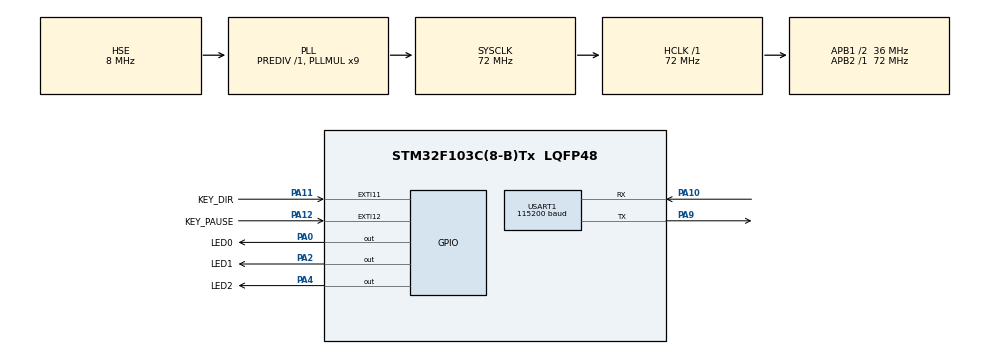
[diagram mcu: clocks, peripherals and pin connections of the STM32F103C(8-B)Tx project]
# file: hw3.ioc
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Mcu.Family=STM32F1
Mcu.Name=STM32F103C(8-B)Tx
Mcu.Package=LQFP48
NVIC.EXTI15_10_IRQn=true\:0\:0\:false\:false\:true\:true\:true\:true
NVIC.PriorityGroup=NVIC_PRIORITYGROUP_4
NVIC.USART1_IRQn=true\:0\:0\:false\:false\:true\:true\:true\:true
PA0-WKUP.GPIO_Label=LED0
PA0-WKUP.Signal=GPIO_Output
PA10.Mode=Asynchronous
PA10.Signal=USART1_RX
PA11.GPIO_Label=KEY_DIR
PA11.GPIO_ModeDefaultEXTI=GPIO_MODE_IT_FALLING
PA11.GPIO_PuPd=GPIO_PULLUP
PA11.Signal=GPXTI11
PA12.GPIO_Label=KEY_PAUSE
PA12.GPIO_ModeDefaultEXTI=GPIO_MODE_IT_FALLING
PA12.GPIO_PuPd=GPIO_PULLUP
PA12.Signal=GPXTI12
PA13.Mode=Serial_Wire
PA13.Signal=SYS_JTMS-SWDIO
PA14.Mode=Serial_Wire
PA14.Signal=SYS_JTCK-SWCLK
PA2.GPIO_Label=LED1
PA2.Signal=GPIO_Output
PA4.GPIO_Label=LED2
PA4.Signal=GPIO_Output
PA9.Mode=Asynchronous
PA9.Signal=USART1_TX
PD0-OSC_IN.Mode=HSE-External-Oscillator
PD0-OSC_IN.Signal=RCC_OSC_IN
PD1-OSC_OUT.Mode=HSE-External-Oscillator
PD1-OSC_OUT.Signal=RCC_OSC_OUT
ProjectManager.HeapSize=0x200
ProjectManager.StackSize=0x400
ProjectManager.TargetToolchain=STM32CubeIDE
RCC.AHBFreq_Value=72000000
RCC.APB1CLKDivider=RCC_HCLK_DIV2
RCC.APB1Freq_Value=36000000
RCC.APB1TimFreq_Value=72000000
RCC.APB2Freq_Value=72000000
RCC.APB2TimFreq_Value=72000000
RCC.HCLKFreq_Value=72000000
RCC.PLLMUL=RCC_PLL_MUL9
RCC.PLLSourceVirtual=RCC_PLLSOURCE_HSE
RCC.SYSCLKFreq_VALUE=72000000
RCC.SYSCLKSource=RCC_SYSCLKSOURCE_PLLCLK
RCC.USBFreq_Value=72000000
USART1.BaudRate=115200
USART1.VirtualMode=VM_ASYNC
board=custom

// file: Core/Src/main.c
/* USER CODE BEGIN Header */
/**
  ******************************************************************************
  * @file           : main.c
  * @brief          : Main program body
  ******************************************************************************
  * @attention
  *
  * Copyright (c) 2026 STMicroelectronics.
  * All rights reserved.
  *
  * This software is licensed under terms that can be found in the LICENSE file
  * in the root directory of this software component.
  * If no LICENSE file comes with this software, it is provided AS-IS.
  *
  ******************************************************************************
  */
/* USER CODE END Header */
#include "main.h"
#include "usart.h"
#include "gpio.h"

/* USER CODE BEGIN Includes */
#include <stdio.h>
#include <string.h>
#include "OLED.h"
/* USER CODE END Includes */

/* USER CODE BEGIN PTD */
/* 灯表：把“第几盏灯”和“哪个端口、哪个引脚”解耦，增删灯只改这张表 */
typedef struct
{
  GPIO_TypeDef *port;
  uint16_t      pin;
} LedDef_t;

/* 串口数据包：AA RUN DIR STEP_L STEP_H CHECK，共 6 字节
   packed 让结构体没有对齐填充，sizeof 恰好等于 6，可以直接拿来接收 */
typedef struct __attribute__((packed))
{
  uint8_t  header;      /* 固定 0xAA */
  uint8_t  run;         /* 00 暂停 / 01 运行 */
  uint8_t  dir;         /* 00 正向 / 01 反向 */
  uint16_t step_ms;     /* 低字节在前，范围 100~2000 */
  uint8_t  checksum;    /* 前 5 字节之和取低 8 位 */
} CtrlPacket_t;
/* USER CODE END PTD */

/* USER CODE BEGIN PD */
#define LED_NUM                 3U
#define LED_LEVEL_ON            GPIO_PIN_SET       /* 板子为高电平点亮 */
#define LED_LEVEL_OFF           GPIO_PIN_RESET

#define STEP_MIN_MS             100U
#define STEP_MAX_MS             2000U
#define STEP_DEFAULT_MS         300U

#define KEY_LOCKOUT_MS          200U               /* 按键消抖锁定窗口 */

#define PKT_HEADER              0xAAU

#define OLED_LINE_NUM           4U
#define OLED_COL_MAX            16U

/* 屏自检：0 正常运行；1 只清屏后停住（看噪点还在不在）；2 四行写满 16 列测试图。
   用来区分“屏幕本身有问题”和“程序没写满”。平时保持 0。 */
#define OLED_SELFTEST           0
/* USER CODE END PD */

/* USER CODE BEGIN PV */
static const LedDef_t s_ledTable[LED_NUM] =
{
  { LED0_GPIO_Port, LED0_Pin },
  { LED1_GPIO_Port, LED1_Pin },
  { LED2_GPIO_Port, LED2_Pin },
};

/* 唯一的一份运行状态：按键、串口、流水灯、OLED、串口反馈都读写这几个变量 */
static uint8_t  s_run      = 1U;                    /* 1 运行 / 0 暂停 */
static uint8_t  s_dir      = 0U;                    /* 0 正向 / 1 反向 */
static uint16_t s_stepMs   = STEP_DEFAULT_MS;       /* 相邻 LED 切换间隔 */
static uint8_t  s_ledIndex = 0U;                    /* 0~2，对应 LED1~LED3 */

static uint32_t s_lastStepTick = 0U;
static uint32_t s_dirKeyTick   = 0U;
static uint32_t s_pauseKeyTick = 0U;

/* 串口接收：s_rxPacket 由中断写入，s_readyPacket 交给主循环处理 */
static CtrlPacket_t      s_rxPacket;
static CtrlPacket_t      s_readyPacket;
static volatile uint8_t  s_packetReady = 0U;

/* 中断只置标志，具体处理都在主循环 */
static volatile uint8_t  s_keyDirFlag   = 0U;
static volatile uint8_t  s_keyPauseFlag = 0U;

/* 串口中断发送的缓冲区必须一直有效，所以不能是局部变量 */
static char             s_txBuf[48];
static volatile uint8_t s_txBusy    = 0U;
static volatile uint8_t s_txPending = 0U;

/* 显示：dirty 表示状态变过，只有变过才重画一次整屏 */
static volatile uint8_t s_displayDirty = 1U;
/* USER CODE END PV */

void SystemClock_Config(void);
/* USER CODE BEGIN PFP */
static void Led_Write(uint8_t idx, uint8_t on);
static void Led_ShowIndex(uint8_t idx);
static void LedFlow_Init(void);
static void LedFlow_Task(void);
static void Key_Task(void);
static void Packet_Task(void);
static void Display_Line(uint8_t line, const char *text);
static void Display_Refresh(void);
static void Display_Task(void);
static void Status_Send(void);
static void Uart_Task(void);
/* USER CODE END PFP */

/* USER CODE BEGIN 0 */
/* 写第 idx 盏灯，on 为 1 点亮、0 熄灭 */
static void Led_Write(uint8_t idx, uint8_t on)
{
  GPIO_PinState level = (on != 0U) ? LED_LEVEL_ON : LED_LEVEL_OFF;
  HAL_GPIO_WritePin(s_ledTable[idx].port, s_ledTable[idx].pin, level);
}

/* 同一时刻只点亮一盏：目标灯点亮，其余全灭 */
static void Led_ShowIndex(uint8_t idx)
{
  uint8_t i;

  for (i = 0U; i < LED_NUM; i++)
  {
    Led_Write(i, (i == idx) ? 1U : 0U);
  }
}

static void LedFlow_Init(void)
{
  s_run      = 1U;
  s_dir      = 0U;
  s_stepMs   = STEP_DEFAULT_MS;
  s_ledIndex = 0U;

  Led_ShowIndex(s_ledIndex);
  s_lastStepTick = HAL_GetTick();
}

/* 非阻塞流水灯：每次路过只问一句“距离上次换灯够一个间隔了吗” */
static void LedFlow_Task(void)
{
  uint32_t now = HAL_GetTick();

  if (s_run == 0U)
  {
    return;                                   /* 暂停：保留当前灯，计时也不推进 */
  }

  if ((uint32_t)(now - s_lastStepTick) < (uint32_t)s_stepMs)
  {
    return;
  }

  s_lastStepTick = now;                       /* 以实际换灯时刻为基准，误差不累积 */

  if (s_dir == 0U)
  {
    s_ledIndex = (uint8_t)((s_ledIndex + 1U) % LED_NUM);
  }
  else
  {
    s_ledIndex = (uint8_t)((s_ledIndex + LED_NUM - 1U) % LED_NUM);
  }

  Led_ShowIndex(s_ledIndex);
  s_displayDirty = 1U;                        /* 点亮的灯换了，OLED 的 LED 编号要跟着改 */
}

/* 按键处理：标志在中断里置位，消抖和状态更新都在这里做 */
static void Key_Task(void)
{
  uint32_t now = HAL_GetTick();

  if (s_keyDirFlag != 0U)
  {
    s_keyDirFlag = 0U;

    /* 锁定窗口 + 回读电平：抖动期间产生的多次下降沿只认第一次 */
    if (((uint32_t)(now - s_dirKeyTick) >= KEY_LOCKOUT_MS) &&
        (HAL_GPIO_ReadPin(KEY_DIR_GPIO_Port, KEY_DIR_Pin) == GPIO_PIN_RESET))
    {
      s_dirKeyTick   = now;
      s_dir         ^= 1U;
      s_displayDirty = 1U;
      Status_Send();
    }
  }

  if (s_keyPauseFlag != 0U)
  {
    s_keyPauseFlag = 0U;

    if (((uint32_t)(now - s_pauseKeyTick) >= KEY_LOCKOUT_MS) &&
        (HAL_GPIO_ReadPin(KEY_PAUSE_GPIO_Port, KEY_PAUSE_Pin) == GPIO_PIN_RESET))
    {
      s_pauseKeyTick = now;
      s_run         ^= 1U;

      if (s_run != 0U)
      {
        s_lastStepTick = now;                 /* 恢复运行：从现在起重新计时 */
      }

      s_displayDirty = 1U;
      Status_Send();
    }
  }
}

/* 数据包校验与应用：帧头、校验和、取值范围全部通过才生效 */
static void Packet_Task(void)
{
  CtrlPacket_t    pkt;
  const uint8_t  *bytes;
  uint8_t         expected;

  if (s_packetReady == 0U)
  {
    return;
  }

  s_packetReady = 0U;
  pkt   = s_readyPacket;                      /* 先拷出来，处理期间不影响接收下一包 */
  bytes = (const uint8_t *)&pkt;

  expected = (uint8_t)(bytes[0] + bytes[1] + bytes[2] + bytes[3] + bytes[4]);

  if (pkt.header != PKT_HEADER)               /* 帧头不对 */
  {
    return;
  }
  if (pkt.checksum != expected)               /* 校验和不对 */
  {
    return;
  }
  if ((pkt.run > 1U) || (pkt.dir > 1U))       /* 标志位只允许 0/1 */
  {
    return;
  }
  if ((pkt.step_ms < STEP_MIN_MS) || (pkt.step_ms > STEP_MAX_MS))
  {
    return;                                   /* 间隔越界 */
  }

  s_run    = pkt.run;
  s_dir    = pkt.dir;
  s_stepMs = pkt.step_ms;

  s_lastStepTick = HAL_GetTick();             /* 按新的间隔重新计时 */

  s_displayDirty = 1U;
  Status_Send();
}

/* 画一行：不足 16 字符用空格补齐，把整行 128 像素全部覆盖一遍。
   这里不做“内容没变就跳过”的优化——一旦某次写入失败导致屏幕与缓存不一致，
   跳过逻辑会让残字永远留在屏上；四行整屏重画约 4 ms，代价可以忽略。 */
static void Display_Line(uint8_t line, const char *text)
{
  char    buf[OLED_COL_MAX + 1U];
  uint8_t i;

  if ((line == 0U) || (line > OLED_LINE_NUM))
  {
    return;
  }

  for (i = 0U; i < OLED_COL_MAX; i++)
  {
    buf[i] = (text[i] != '\0') ? text[i] : ' ';
  }
  buf[OLED_COL_MAX] = '\0';

  OLED_ShowString(line, 1U, buf);
}

static void Display_Refresh(void)
{
  char buf[OLED_COL_MAX + 1U];

  (void)snprintf(buf, sizeof(buf), "STATE: %s", (s_run != 0U) ? "RUN" : "PAUSE");
  Display_Line(1U, buf);

  (void)snprintf(buf, sizeof(buf), "DIR: %s", (s_dir != 0U) ? "REV" : "FWD");
  Display_Line(2U, buf);

  (void)snprintf(buf, sizeof(buf), "STEP: %ums", (unsigned int)s_stepMs);
  Display_Line(3U, buf);

  (void)snprintf(buf, sizeof(buf), "LED: %u", (unsigned int)(s_ledIndex + 1U));
  Display_Line(4U, buf);
}

static void Display_Task(void)
{
  if (s_displayDirty == 0U)
  {
    return;
  }
  s_displayDirty = 0U;
  Display_Refresh();
}

/* 串口中断发送状态反馈；发送忙时只记一个“待发”，由主循环补发 */
static void Status_Send(void)
{
  int len;

  if (s_txBusy != 0U)
  {
    s_txPending = 1U;
    return;
  }

  len = snprintf(s_txBuf, sizeof(s_txBuf),
                 "STATE=%s,DIR=%s,STEP=%u,LED=%u\r\n",
                 (s_run != 0U) ? "RUN" : "PAUSE",
                 (s_dir != 0U) ? "REV" : "FWD",
                 (unsigned int)s_stepMs,
                 (unsigned int)(s_ledIndex + 1U));

  if (len <= 0)
  {
    return;
  }

  if (HAL_UART_Transmit_IT(&huart1, (uint8_t *)s_txBuf, (uint16_t)len) == HAL_OK)
  {
    s_txBusy = 1U;
  }
}

static void Uart_Task(void)
{
  if ((s_txBusy == 0U) && (s_txPending != 0U))
  {
    s_txPending = 0U;
    Status_Send();
  }
}
/* USER CODE END 0 */

int main(void)
{

  /* MCU Configuration--------------------------------------------------------*/

  /* Reset of all peripherals, Initializes the Flash interface and the Systick. */
  HAL_Init();

  /* Configure the system clock */
  SystemClock_Config();

  /* Initialize all configured peripherals */
  MX_GPIO_Init();
  MX_USART1_UART_Init();
  /* USER CODE BEGIN 2 */
  OLED_Init();
  LedFlow_Init();

#if (OLED_SELFTEST == 1)
  /* 只清屏：如果这时右边缘的竖条噪点还在，说明那几列根本没被清到，
     与主程序无关，问题在驱动的列寻址或屏幕本身。 */
  for (;;)
  {
  }
#elif (OLED_SELFTEST == 2)
  /* 四行写满 16 列：正常应该看到连续的 0123456789ABCDEF。
     末尾缺字符 = 那些列写不进去；出现错位 = 列寻址整体偏移。 */
  {
    char    test_line[OLED_COL_MAX + 1U];
    uint8_t i;

    for (i = 0U; i < OLED_COL_MAX; i++)
    {
      test_line[i] = "0123456789ABCDEF"[i];
    }
    test_line[OLED_COL_MAX] = '\0';

    for (;;)
    {
      for (i = 0U; i < OLED_LINE_NUM; i++)
      {
        OLED_ShowString((uint8_t)(i + 1U), 1U, test_line);
      }
      HAL_Delay(500U);
    }
  }
#endif

  s_displayDirty = 1U;                        /* 让主循环第一轮画出完整状态 */

  /* 先启动一次接收，之后每次收满都在回调里重新启动 */
  (void)HAL_UART_Receive_IT(&huart1, (uint8_t *)&s_rxPacket, sizeof(s_rxPacket));

  Status_Send();                              /* 上电先回一行状态，方便确认串口通了 */
  /* USER CODE END 2 */

  /* Infinite loop */
  while (1)
  {

    /* USER CODE BEGIN 3 */
    Key_Task();                               /* 按键消抖 + 状态切换 */
    Packet_Task();                            /* 数据包校验 + 应用设置 */
    LedFlow_Task();                           /* 非阻塞流水灯推进 */
    Display_Task();                           /* 状态变了才刷新 OLED */
    Uart_Task();                              /* 补发被忙时挤掉的反馈 */
  }
  /* USER CODE END 3 */
}

void SystemClock_Config(void)
{
  RCC_OscInitTypeDef RCC_OscInitStruct = {0};
  RCC_ClkInitTypeDef RCC_ClkInitStruct = {0};

  /** Initializes the RCC Oscillators according to the specified parameters
  * in the RCC_OscInitTypeDef structure.
  */
  RCC_OscInitStruct.OscillatorType = RCC_OSCILLATORTYPE_HSE;
  RCC_OscInitStruct.HSEState = RCC_HSE_ON;
  RCC_OscInitStruct.HSEPredivValue = RCC_HSE_PREDIV_DIV1;
  RCC_OscInitStruct.HSIState = RCC_HSI_ON;
  RCC_OscInitStruct.PLL.PLLState = RCC_PLL_ON;
  RCC_OscInitStruct.PLL.PLLSource = RCC_PLLSOURCE_HSE;
  RCC_OscInitStruct.PLL.PLLMUL = RCC_PLL_MUL9;
  if (HAL_RCC_OscConfig(&RCC_OscInitStruct) != HAL_OK)
  {
    Error_Handler();
  }

  /** Initializes the CPU, AHB and APB buses clocks
  */
  RCC_ClkInitStruct.ClockType = RCC_CLOCKTYPE_HCLK|RCC_CLOCKTYPE_SYSCLK
                              |RCC_CLOCKTYPE_PCLK1|RCC_CLOCKTYPE_PCLK2;
  RCC_ClkInitStruct.SYSCLKSource = RCC_SYSCLKSOURCE_PLLCLK;
  RCC_ClkInitStruct.AHBCLKDivider = RCC_SYSCLK_DIV1;
  RCC_ClkInitStruct.APB1CLKDivider = RCC_HCLK_DIV2;
  RCC_ClkInitStruct.APB2CLKDivider = RCC_HCLK_DIV1;

  if (HAL_RCC_ClockConfig(&RCC_ClkInitStruct, FLASH_LATENCY_2) != HAL_OK)
  {
    Error_Handler();
  }
}

/* USER CODE BEGIN 4 */
/**
  * @brief  外部中断回调：PA11 / PA12 出现下降沿时调用。
  * @note   回调里只置标志，消抖和状态更新留给主循环，保证中断足够短。
  */
void HAL_GPIO_EXTI_Callback(uint16_t GPIO_Pin)
{
  if (GPIO_Pin == KEY_DIR_Pin)
  {
    s_keyDirFlag = 1U;
  }
  else if (GPIO_Pin == KEY_PAUSE_Pin)
  {
    s_keyPauseFlag = 1U;
  }
}

/**
  * @brief  串口接收完成回调：一包收满 6 字节后进入。
  * @note   先把数据整体复制到 s_readyPacket，再立刻重启接收，
  *         这样主循环处理当前包的同时还能继续收下一包。
  */
void HAL_UART_RxCpltCallback(UART_HandleTypeDef *huart)
{
  if (huart->Instance == USART1)
  {
    if (s_packetReady == 0U)                  /* 主循环还没处理完上一包就丢弃新包 */
    {
      s_readyPacket = s_rxPacket;
      s_packetReady = 1U;
    }

    (void)HAL_UART_Receive_IT(&huart1, (uint8_t *)&s_rxPacket, sizeof(s_rxPacket));
  }
}

/**
  * @brief  串口发送完成回调：清忙标志，允许发送下一包反馈。
  */
void HAL_UART_TxCpltCallback(UART_HandleTypeDef *huart)
{
  if (huart->Instance == USART1)
  {
    s_txBusy = 0U;
  }
}
/* USER CODE END 4 */

void Error_Handler(void)
{
  __disable_irq();
  while (1)
  {
  }
}
